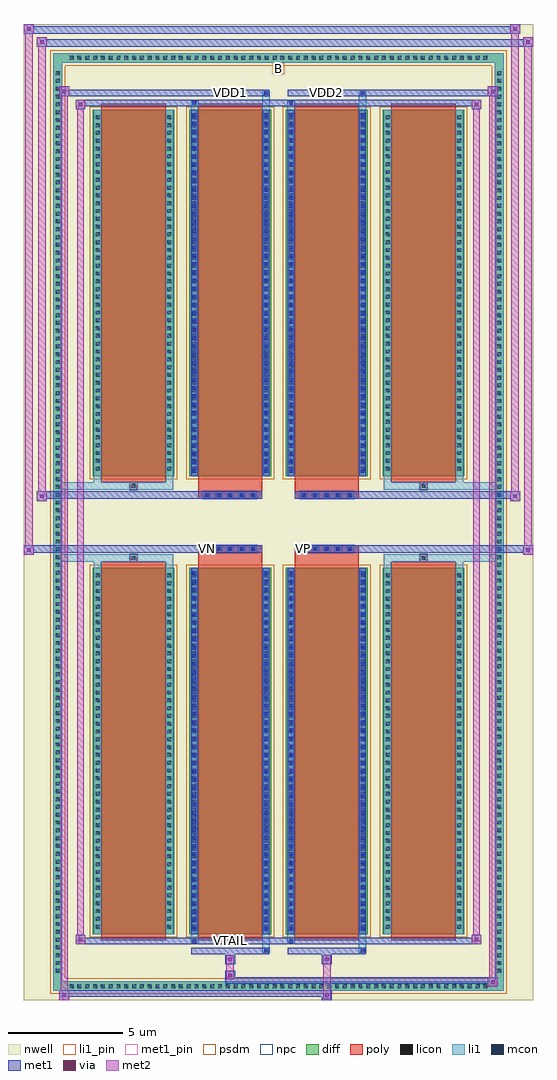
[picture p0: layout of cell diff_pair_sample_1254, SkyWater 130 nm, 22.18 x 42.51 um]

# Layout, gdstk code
import gdstk
lib = gdstk.Library(unit=1e-6, precision=5e-09)
def R(c, l, rs):  # rectangles x0, y0, x1, y1
    for r in rs: c.add(gdstk.rectangle(r[:2], r[2:], *l))
def A(c, l, x, y, w, h, nx, ny, dx, dy):  # array of equal rectangles
    R(c, l, [(x+i*dx, y+j*dy, x+i*dx+w, y+j*dy+h) for i in range(nx) for j in range(ny)])
def P(c, l, *ps):  # polygons
    for p in ps: c.add(gdstk.Polygon(p, *l))
nwell = (64, 20)
diff = (65, 20)
poly = (66, 20)
licon = (66, 44)
li1_pin = (67, 16)
li1 = (67, 20)
mcon = (67, 44)
met1_pin = (68, 16)
met1 = (68, 20)
via = (68, 44)
met2 = (69, 20)
psdm = (94, 20)
npc = (95, 20)

diff_pair_sample_1254 = lib.new_cell('diff_pair_sample_1254')
R(diff_pair_sample_1254, nwell, [(-11.09,-20.82,11.09,21.69), (-8.41,-19.01,-0.01,-0.805), (0.01,-19.01,8.41,-0.805), (-8.41,0.805,-0.01,19.01), (0.01,0.805,8.41,19.01)])
A(diff_pair_sample_1254, diff, -9.215, -20.42, 0.41, 0.41, 54, 2, 0.34, 40.43)
A(diff_pair_sample_1254, diff, -9.82, -19.755, 0.41, 0.41, 1, 116, 0, 0.34)
A(diff_pair_sample_1254, diff, 9.41, -19.755, 0.41, 0.41, 1, 116, 0, 0.34)
A(diff_pair_sample_1254, diff, -8.1, -17.965, 3.57, 15.98, 4, 2, 4.21, 19.95)
R(diff_pair_sample_1254, diff, [(-9.215,-20.42,9.215,-20.01), (-9.82,-19.755,-9.41,19.755), (9.41,-19.755,9.82,19.755), (-9.215,20.01,9.215,20.42)])
P(diff_pair_sample_1254, diff, [(9.82,20.42),(-9.82,20.42),(-9.82,-20.01),(-9.41,-20.01),(-9.41,20.01),(9.41,20.01),(9.41,-20.01),(-9.41,-20.01),(-9.82,-20.01),(-9.82,-20.42),(9.82,-20.42)])
A(diff_pair_sample_1254, poly, -7.71, -18.215, 2.79, 16.48, 4, 2, 4.21, 19.95)
A(diff_pair_sample_1254, poly, -3.27, -1.335, 0.33, 0.33, 5, 2, 0.5, 2.34)
A(diff_pair_sample_1254, poly, 0.94, -1.335, 0.33, 0.33, 5, 2, 0.5, 2.34)
R(diff_pair_sample_1254, poly, [(-6.48,-1.735,-6.15,-1.405), (-6.48,-1.735,-6.15,-1.405), (-3.5,-1.735,-0.71,-1.335), (0.71,-1.735,3.5,-1.335), (6.15,-1.735,6.48,-1.405), (6.15,-1.735,6.48,-1.405), (-3.5,-1.335,-0.71,-1.005), (0.71,-1.335,3.5,-1.005), (-3.5,1.005,-0.71,1.335), (0.71,1.005,3.5,1.335), (-3.5,1.335,-0.71,1.735), (0.71,1.335,3.5,1.735), (-6.48,1.405,-6.15,1.735), (-6.48,1.405,-6.15,1.735), (6.15,1.405,6.48,1.735), (6.15,1.405,6.48,1.735)])
A(diff_pair_sample_1254, licon, -9.095, -20.3, 0.17, 0.17, 54, 2, 0.34, 40.43)
A(diff_pair_sample_1254, licon, -9.7, -19.635, 0.17, 0.17, 1, 116, 0, 0.34)
A(diff_pair_sample_1254, licon, 9.53, -19.635, 0.17, 0.17, 1, 116, 0, 0.34)
A(diff_pair_sample_1254, licon, -7.96, -17.71, 0.17, 0.17, 1, 46, 0, 0.34)
A(diff_pair_sample_1254, licon, -4.84, -17.71, 0.17, 0.17, 1, 46, 0, 0.34)
A(diff_pair_sample_1254, licon, -3.75, -17.71, 0.17, 0.17, 1, 46, 0, 0.34)
A(diff_pair_sample_1254, licon, -0.63, -17.71, 0.17, 0.17, 1, 46, 0, 0.34)
A(diff_pair_sample_1254, licon, 0.46, -17.71, 0.17, 0.17, 1, 46, 0, 0.34)
A(diff_pair_sample_1254, licon, 3.58, -17.71, 0.17, 0.17, 1, 46, 0, 0.34)
A(diff_pair_sample_1254, licon, 4.67, -17.71, 0.17, 0.17, 1, 46, 0, 0.34)
A(diff_pair_sample_1254, licon, 7.79, -17.71, 0.17, 0.17, 1, 46, 0, 0.34)
A(diff_pair_sample_1254, licon, -3.19, -1.255, 0.17, 0.17, 5, 2, 0.5, 2.34)
A(diff_pair_sample_1254, licon, 1.02, -1.255, 0.17, 0.17, 5, 2, 0.5, 2.34)
A(diff_pair_sample_1254, licon, -7.96, 2.24, 0.17, 0.17, 1, 46, 0, 0.34)
A(diff_pair_sample_1254, licon, -4.84, 2.24, 0.17, 0.17, 1, 46, 0, 0.34)
A(diff_pair_sample_1254, licon, -3.75, 2.24, 0.17, 0.17, 1, 46, 0, 0.34)
A(diff_pair_sample_1254, licon, -0.63, 2.24, 0.17, 0.17, 1, 46, 0, 0.34)
A(diff_pair_sample_1254, licon, 0.46, 2.24, 0.17, 0.17, 1, 46, 0, 0.34)
A(diff_pair_sample_1254, licon, 3.58, 2.24, 0.17, 0.17, 1, 46, 0, 0.34)
A(diff_pair_sample_1254, licon, 4.67, 2.24, 0.17, 0.17, 1, 46, 0, 0.34)
A(diff_pair_sample_1254, licon, 7.79, 2.24, 0.17, 0.17, 1, 46, 0, 0.34)
R(diff_pair_sample_1254, licon, [(-6.4,-1.655,-6.23,-1.485), (6.23,-1.655,6.4,-1.485), (-6.4,1.485,-6.23,1.655), (6.23,1.485,6.4,1.655)])
R(diff_pair_sample_1254, li1_pin, [(-0.25,19.51,0.25,20.01)])
A(diff_pair_sample_1254, li1, -9.175, -20.38, 0.33, 0.33, 54, 2, 0.34, 40.43)
A(diff_pair_sample_1254, li1, -9.78, -19.715, 0.33, 0.33, 1, 116, 0, 0.34)
A(diff_pair_sample_1254, li1, 9.45, -19.715, 0.33, 0.33, 1, 116, 0, 0.34)
A(diff_pair_sample_1254, li1, -3.75, -17.8, 0.17, 0.17, 1, 44, 0, 0.36)
A(diff_pair_sample_1254, li1, -0.63, -17.8, 0.17, 0.17, 1, 44, 0, 0.36)
A(diff_pair_sample_1254, li1, 0.46, -17.8, 0.17, 0.17, 1, 44, 0, 0.36)
A(diff_pair_sample_1254, li1, 3.58, -17.8, 0.17, 0.17, 1, 44, 0, 0.36)
A(diff_pair_sample_1254, li1, -8.04, -17.79, 0.33, 0.33, 1, 46, 0, 0.34)
A(diff_pair_sample_1254, li1, -4.92, -17.79, 0.33, 0.33, 1, 46, 0, 0.34)
A(diff_pair_sample_1254, li1, -3.83, -17.79, 0.33, 0.33, 1, 46, 0, 0.34)
A(diff_pair_sample_1254, li1, -0.71, -17.79, 0.33, 0.33, 1, 46, 0, 0.34)
A(diff_pair_sample_1254, li1, 0.38, -17.79, 0.33, 0.33, 1, 46, 0, 0.34)
A(diff_pair_sample_1254, li1, 3.5, -17.79, 0.33, 0.33, 1, 46, 0, 0.34)
A(diff_pair_sample_1254, li1, 4.59, -17.79, 0.33, 0.33, 1, 46, 0, 0.34)
A(diff_pair_sample_1254, li1, 7.71, -17.79, 0.33, 0.33, 1, 46, 0, 0.34)
A(diff_pair_sample_1254, li1, -3.27, -1.335, 0.33, 0.33, 5, 2, 0.5, 2.34)
A(diff_pair_sample_1254, li1, 0.94, -1.335, 0.33, 0.33, 5, 2, 0.5, 2.34)
A(diff_pair_sample_1254, li1, -3.75, 2.15, 0.17, 0.17, 1, 44, 0, 0.36)
A(diff_pair_sample_1254, li1, -0.63, 2.15, 0.17, 0.17, 1, 44, 0, 0.36)
A(diff_pair_sample_1254, li1, 0.46, 2.15, 0.17, 0.17, 1, 44, 0, 0.36)
A(diff_pair_sample_1254, li1, 3.58, 2.15, 0.17, 0.17, 1, 44, 0, 0.36)
A(diff_pair_sample_1254, li1, -8.04, 2.16, 0.33, 0.33, 1, 46, 0, 0.34)
A(diff_pair_sample_1254, li1, -4.92, 2.16, 0.33, 0.33, 1, 46, 0, 0.34)
A(diff_pair_sample_1254, li1, -3.83, 2.16, 0.33, 0.33, 1, 46, 0, 0.34)
A(diff_pair_sample_1254, li1, -0.71, 2.16, 0.33, 0.33, 1, 46, 0, 0.34)
A(diff_pair_sample_1254, li1, 0.38, 2.16, 0.33, 0.33, 1, 46, 0, 0.34)
A(diff_pair_sample_1254, li1, 3.5, 2.16, 0.33, 0.33, 1, 46, 0, 0.34)
A(diff_pair_sample_1254, li1, 4.59, 2.16, 0.33, 0.33, 1, 46, 0, 0.34)
A(diff_pair_sample_1254, li1, 7.71, 2.16, 0.33, 0.33, 1, 46, 0, 0.34)
R(diff_pair_sample_1254, li1, [(-9.82,-20.42,-9.41,-20.01), (-9.82,-20.42,-9.41,-20.01), (-9.41,-20.42,9.41,-20.01), (9.41,-20.42,9.82,-20.01), (9.41,-20.42,9.82,-20.01), (-9.82,-20.01,-9.41,20.01), (9.41,-20.01,9.82,20.01), (-0.71,-18.77,-0.38,-17.965), (-0.63,-18.77,-0.46,-18.6), (3.5,-18.77,3.83,-17.965), (3.58,-18.77,3.75,-18.6), (-3.83,-18.34,-3.5,-17.965), (-3.75,-18.34,-3.58,-18.17), (0.38,-18.34,0.71,-17.965), (0.46,-18.34,0.63,-18.17), (-8.04,-17.965,-7.71,-1.985), (-4.92,-17.965,-4.59,-1.985), (-3.83,-17.965,-3.5,-1.985), (-0.71,-17.965,-0.38,-1.985), (0.38,-17.965,0.71,-1.985), (3.5,-17.965,3.83,-1.985), (4.59,-17.965,4.92,-1.985), (7.71,-17.965,8.04,-1.985), (-3.75,-17.8,-3.58,-2.15), (-0.63,-17.8,-0.46,-2.15), (0.46,-17.8,0.63,-2.15), (3.58,-17.8,3.75,-2.15), (-8.04,-1.985,-7.71,-1.405), (-4.92,-1.985,-4.59,-1.405), (4.59,-1.985,4.92,-1.405), (7.71,-1.985,8.04,-1.405), (-9.82,-1.735,-6.48,-1.405), (-8.04,-1.735,-6.48,-1.405), (-6.48,-1.735,-6.15,-1.405), (-6.15,-1.735,-4.59,-1.405), (4.59,-1.735,6.15,-1.405), (6.15,-1.735,6.48,-1.405), (6.15,-1.735,9.82,-1.405), (6.48,-1.735,8.04,-1.405), (-9.82,1.405,-6.48,1.735), (-8.04,1.405,-6.48,1.735), (-8.04,1.405,-7.71,1.985), (-6.48,1.405,-6.15,1.735), (-6.15,1.405,-4.59,1.735), (-4.92,1.405,-4.59,1.985), (4.59,1.405,6.15,1.735), (4.59,1.405,4.92,1.985), (6.15,1.405,6.48,1.735), (6.15,1.405,9.82,1.735), (6.48,1.405,8.04,1.735), (7.71,1.405,8.04,1.985), (-8.04,1.985,-7.71,17.965), (-4.92,1.985,-4.59,17.965), (-3.83,1.985,-3.5,17.965), (-0.71,1.985,-0.38,17.965), (0.38,1.985,0.71,17.965), (3.5,1.985,3.83,17.965), (4.59,1.985,4.92,17.965), (7.71,1.985,8.04,17.965), (-3.75,2.15,-3.58,17.8), (-0.63,2.15,-0.46,17.8), (0.46,2.15,0.63,17.8), (3.58,2.15,3.75,17.8), (-3.83,17.965,-3.5,18.34), (-0.71,17.965,-0.38,18.77), (0.38,17.965,0.71,18.34), (3.5,17.965,3.83,18.77), (-3.75,18.17,-3.58,18.34), (0.46,18.17,0.63,18.34), (-0.63,18.6,-0.46,18.77), (3.58,18.6,3.75,18.77), (-9.82,20.01,-9.41,20.42), (-9.82,20.01,-9.41,20.42), (-9.41,20.01,9.41,20.42), (9.41,20.01,9.82,20.42), (9.41,20.01,9.82,20.42)])
A(diff_pair_sample_1254, mcon, -3.75, -17.8, 0.17, 0.17, 1, 44, 0, 0.36)
A(diff_pair_sample_1254, mcon, -0.63, -17.8, 0.17, 0.17, 1, 44, 0, 0.36)
A(diff_pair_sample_1254, mcon, 0.46, -17.8, 0.17, 0.17, 1, 44, 0, 0.36)
A(diff_pair_sample_1254, mcon, 3.58, -17.8, 0.17, 0.17, 1, 44, 0, 0.36)
A(diff_pair_sample_1254, mcon, -3.19, -1.255, 0.17, 0.17, 5, 2, 0.5, 2.34)
A(diff_pair_sample_1254, mcon, 1.02, -1.255, 0.17, 0.17, 5, 2, 0.5, 2.34)
A(diff_pair_sample_1254, mcon, -3.75, 2.15, 0.17, 0.17, 1, 44, 0, 0.36)
A(diff_pair_sample_1254, mcon, -0.63, 2.15, 0.17, 0.17, 1, 44, 0, 0.36)
A(diff_pair_sample_1254, mcon, 0.46, 2.15, 0.17, 0.17, 1, 44, 0, 0.36)
A(diff_pair_sample_1254, mcon, 3.58, 2.15, 0.17, 0.17, 1, 44, 0, 0.36)
R(diff_pair_sample_1254, mcon, [(-0.63,-18.77,-0.46,-18.6), (3.58,-18.77,3.75,-18.6), (-3.75,-18.34,-3.58,-18.17), (0.46,-18.34,0.63,-18.17), (-3.75,18.17,-3.58,18.34), (0.46,18.17,0.63,18.34), (-0.63,18.6,-0.46,18.77), (3.58,18.6,3.75,18.77)])
R(diff_pair_sample_1254, met1_pin, [(-2.24,-18.38,-1.97,-18.11), (-3.24,-1.295,-2.97,-1.025), (0.97,-1.295,1.24,-1.025), (-2.24,18.56,-1.97,18.83), (1.97,18.56,2.24,18.83)])
A(diff_pair_sample_1254, met1, -3.81, -17.86, 0.29, 0.29, 1, 44, 0, 0.36)
A(diff_pair_sample_1254, met1, -0.69, -17.86, 0.29, 0.29, 1, 44, 0, 0.36)
A(diff_pair_sample_1254, met1, 0.4, -17.86, 0.29, 0.29, 1, 44, 0, 0.36)
A(diff_pair_sample_1254, met1, 3.52, -17.86, 0.29, 0.29, 1, 44, 0, 0.36)
A(diff_pair_sample_1254, met1, -3.25, -1.315, 0.29, 0.29, 5, 2, 0.5, 2.34)
A(diff_pair_sample_1254, met1, 0.96, -1.315, 0.29, 0.29, 5, 2, 0.5, 2.34)
A(diff_pair_sample_1254, met1, -3.81, 2.09, 0.29, 0.29, 1, 44, 0, 0.36)
A(diff_pair_sample_1254, met1, -0.69, 2.09, 0.29, 0.29, 1, 44, 0, 0.36)
A(diff_pair_sample_1254, met1, 0.4, 2.09, 0.29, 0.29, 1, 44, 0, 0.36)
A(diff_pair_sample_1254, met1, 3.52, 2.09, 0.29, 0.29, 1, 44, 0, 0.36)
R(diff_pair_sample_1254, met1, [(-9.55,-20.82,-9.12,-20.39), (1.89,-20.82,2.32,-20.39), (-9.55,-20.68,2.32,-20.39), (9.12,-20.25,9.55,-19.82), (-2.32,-20.11,9.55,-19.82), (-2.32,-19.97,-1.89,-19.54), (-2.32,-19.26,-1.89,-18.83), (1.89,-19.26,2.32,-18.83), (-3.81,-18.83,-0.4,-18.54), (-0.69,-18.83,-0.4,-18.54), (0.4,-18.83,3.81,-18.54), (3.52,-18.83,3.81,-18.54), (-8.84,-18.4,-8.41,-17.97), (-8.84,-18.4,-3.81,-18.11), (-3.81,-18.4,-3.52,-18.11), (-3.81,-18.4,-0.4,-18.11), (-0.4,-18.4,0.4,-18.11), (0.4,-18.4,0.69,-18.11), (0.4,-18.4,3.81,-18.11), (3.81,-18.4,8.84,-18.11), (8.41,-18.4,8.84,-17.97), (-3.81,-17.965,-3.52,-1.985), (-0.69,-17.965,-0.4,-1.985), (0.4,-17.965,0.69,-1.985), (3.52,-17.965,3.81,-1.985), (-11.09,-1.435,-10.66,-1.005), (10.66,-1.435,11.09,-1.005), (-11.09,-1.335,-0.71,-1.005), (-3.5,-1.335,-0.71,-1.005), (0.71,-1.335,3.5,-1.005), (0.71,-1.335,11.09,-1.005), (-10.52,0.905,-10.09,1.335), (10.09,0.905,10.52,1.335), (-10.52,1.005,-3.5,1.335), (-3.5,1.005,-0.71,1.335), (0.71,1.005,3.5,1.335), (3.5,1.005,10.52,1.335), (-3.81,1.985,-3.52,17.965), (-0.69,1.985,-0.4,17.965), (0.4,1.985,0.69,17.965), (3.52,1.985,3.81,17.965), (-8.84,17.97,-8.41,18.4), (8.41,17.97,8.84,18.4), (-8.84,18.11,-3.81,18.4), (-3.81,18.11,-3.52,18.4), (-3.81,18.11,-0.4,18.4), (-0.4,18.11,0.4,18.4), (0.4,18.11,0.69,18.4), (0.4,18.11,3.81,18.4), (3.81,18.11,8.84,18.4), (-9.55,18.54,-9.12,18.97), (-9.55,18.54,-3.81,18.83), (-3.81,18.54,-0.4,18.83), (-0.69,18.54,-0.4,18.83), (0.4,18.54,3.81,18.83), (3.52,18.54,3.81,18.83), (3.81,18.54,9.55,18.83), (9.12,18.54,9.55,18.97), (-10.52,20.69,-10.09,21.12), (-10.52,20.69,-8.41,21.02), (-8.41,20.69,8.41,21.02), (8.41,20.69,11.09,21.02), (10.66,20.69,11.09,21.12), (-11.09,21.26,-10.66,21.69), (-11.09,21.26,-8.41,21.59), (-8.41,21.26,8.41,21.59), (8.41,21.26,10.52,21.59), (10.09,21.26,10.52,21.69)])
R(diff_pair_sample_1254, via, [(-9.41,-20.68,-9.26,-20.53), (2.03,-20.68,2.18,-20.53), (9.26,-20.11,9.41,-19.96), (-2.18,-19.83,-2.03,-19.68), (-2.18,-19.12,-2.03,-18.97), (2.03,-19.12,2.18,-18.97), (-8.7,-18.26,-8.55,-18.11), (8.55,-18.26,8.7,-18.11), (-10.95,-1.295,-10.8,-1.145), (10.8,-1.295,10.95,-1.145), (-10.38,1.045,-10.23,1.195), (10.23,1.045,10.38,1.195), (-8.7,18.11,-8.55,18.26), (8.55,18.11,8.7,18.26), (-9.41,18.68,-9.26,18.83), (9.26,18.68,9.41,18.83), (-10.38,20.83,-10.23,20.98), (10.8,20.83,10.95,20.98), (-10.95,21.4,-10.8,21.55), (10.23,21.4,10.38,21.55)])
R(diff_pair_sample_1254, met2, [(-9.55,-20.82,-9.12,-20.39), (-9.48,-20.82,-9.19,18.97), (-9.19,-20.82,-9.12,-20.39), (-9.5,-20.77,-9.17,-20.44), (1.94,-20.77,2.27,-20.44), (1.94,-20.44,2.27,-19.21), (9.12,-20.25,9.55,-19.82), (9.19,-20.25,9.48,18.97), (9.48,-20.25,9.55,-19.82), (9.17,-20.2,9.5,-19.87), (-2.27,-19.92,-1.94,-19.59), (-2.27,-19.59,-1.94,-19.21), (-2.27,-19.21,-1.94,-18.88), (1.94,-19.21,2.27,-18.88), (-8.84,-18.4,-8.41,-17.97), (-8.77,-18.4,-8.48,18.4), (-8.48,-18.4,-8.41,-17.97), (8.41,-18.4,8.84,-17.97), (8.48,-18.4,8.77,18.4), (8.77,-18.4,8.84,-17.97), (-8.79,-18.35,-8.46,-18.02), (8.46,-18.35,8.79,-18.02), (-11.09,-1.435,-10.66,-1.005), (-11.04,-1.435,-10.71,21.69), (-10.71,-1.435,-10.66,-1.005), (10.66,-1.435,11.09,-1.005), (10.71,-1.435,11.04,21.12), (11.04,-1.435,11.09,-1.005), (-11.04,-1.385,-10.71,-1.055), (10.71,-1.385,11.04,-1.055), (-10.52,0.905,-10.09,1.335), (-10.47,0.905,-10.14,21.12), (-10.14,0.905,-10.09,1.335), (10.09,0.905,10.52,1.335), (10.14,0.905,10.47,21.69), (10.47,0.905,10.52,1.335), (-10.47,0.955,-10.14,1.285), (10.14,0.955,10.47,1.285), (-8.84,17.97,-8.41,18.4), (-8.48,17.97,-8.41,18.4), (8.41,17.97,8.84,18.4), (8.77,17.97,8.84,18.4), (-8.79,18.02,-8.46,18.35), (8.46,18.02,8.79,18.35), (-9.55,18.54,-9.12,18.97), (-9.19,18.54,-9.12,18.97), (9.12,18.54,9.55,18.97), (9.48,18.54,9.55,18.97), (-9.5,18.59,-9.17,18.92), (9.17,18.59,9.5,18.92), (-10.52,20.69,-10.09,21.12), (-10.14,20.69,-10.09,21.12), (10.66,20.69,11.09,21.12), (11.04,20.69,11.09,21.12), (-10.47,20.74,-10.14,21.07), (10.71,20.74,11.04,21.07), (-11.09,21.26,-10.66,21.69), (-10.71,21.26,-10.66,21.69), (10.09,21.26,10.52,21.69), (10.47,21.26,10.52,21.69), (-11.04,21.31,-10.71,21.64), (10.14,21.31,10.47,21.64)])
A(diff_pair_sample_1254, psdm, -8.23, -18.095, 3.83, 16.24, 4, 2, 4.21, 19.95)
P(diff_pair_sample_1254, psdm, [(9.95,20.55),(-9.95,20.55),(-9.95,-19.88),(-9.28,-19.88),(-9.28,19.88),(9.28,19.88),(9.28,-19.88),(-9.28,-19.88),(-9.95,-19.88),(-9.95,-20.55),(9.95,-20.55)])
A(diff_pair_sample_1254, npc, -3.29, -1.355, 0.37, 0.37, 5, 2, 0.5, 2.34)
A(diff_pair_sample_1254, npc, 0.92, -1.355, 0.37, 0.37, 5, 2, 0.5, 2.34)
R(diff_pair_sample_1254, npc, [(-6.5,-1.755,-6.13,-1.385), (6.13,-1.755,6.5,-1.385), (-3.29,-1.355,-2.42,-0.985), (-3.29,-1.355,-2.42,-0.985), (-2.79,-1.355,-1.92,-0.985), (-2.79,-1.355,-1.92,-0.985), (-2.29,-1.355,-1.42,-0.985), (-2.29,-1.355,-1.42,-0.985), (-1.79,-1.355,-0.92,-0.985), (-1.79,-1.355,-0.92,-0.985), (0.92,-1.355,1.79,-0.985), (0.92,-1.355,1.79,-0.985), (1.42,-1.355,2.29,-0.985), (1.42,-1.355,2.29,-0.985), (1.92,-1.355,2.79,-0.985), (1.92,-1.355,2.79,-0.985), (2.42,-1.355,3.29,-0.985), (2.42,-1.355,3.29,-0.985), (-3.29,0.985,-2.42,1.355), (-3.29,0.985,-2.42,1.355), (-2.79,0.985,-1.92,1.355), (-2.79,0.985,-1.92,1.355), (-2.29,0.985,-1.42,1.355), (-2.29,0.985,-1.42,1.355), (-1.79,0.985,-0.92,1.355), (-1.79,0.985,-0.92,1.355), (0.92,0.985,1.79,1.355), (0.92,0.985,1.79,1.355), (1.42,0.985,2.29,1.355), (1.42,0.985,2.29,1.355), (1.92,0.985,2.79,1.355), (1.92,0.985,2.79,1.355), (2.42,0.985,3.29,1.355), (2.42,0.985,3.29,1.355), (-6.5,1.385,-6.13,1.755), (6.13,1.385,6.5,1.755)])
diff_pair_sample_1254.add(gdstk.Label('VTAIL', (-2.105,-18.245), layer=68, texttype=5))
diff_pair_sample_1254.add(gdstk.Label('VN', (-3.105,-1.16), layer=68, texttype=5))
diff_pair_sample_1254.add(gdstk.Label('VP', (1.105,-1.16), layer=68, texttype=5))
diff_pair_sample_1254.add(gdstk.Label('B', (0,19.76), layer=67, texttype=5))
diff_pair_sample_1254.add(gdstk.Label('VDD2', (2.105,18.695), layer=68, texttype=5))
diff_pair_sample_1254.add(gdstk.Label('VDD1', (-2.105,18.695), layer=68, texttype=5))

lib.write_gds('diff_pair_sample_1254.gds')
